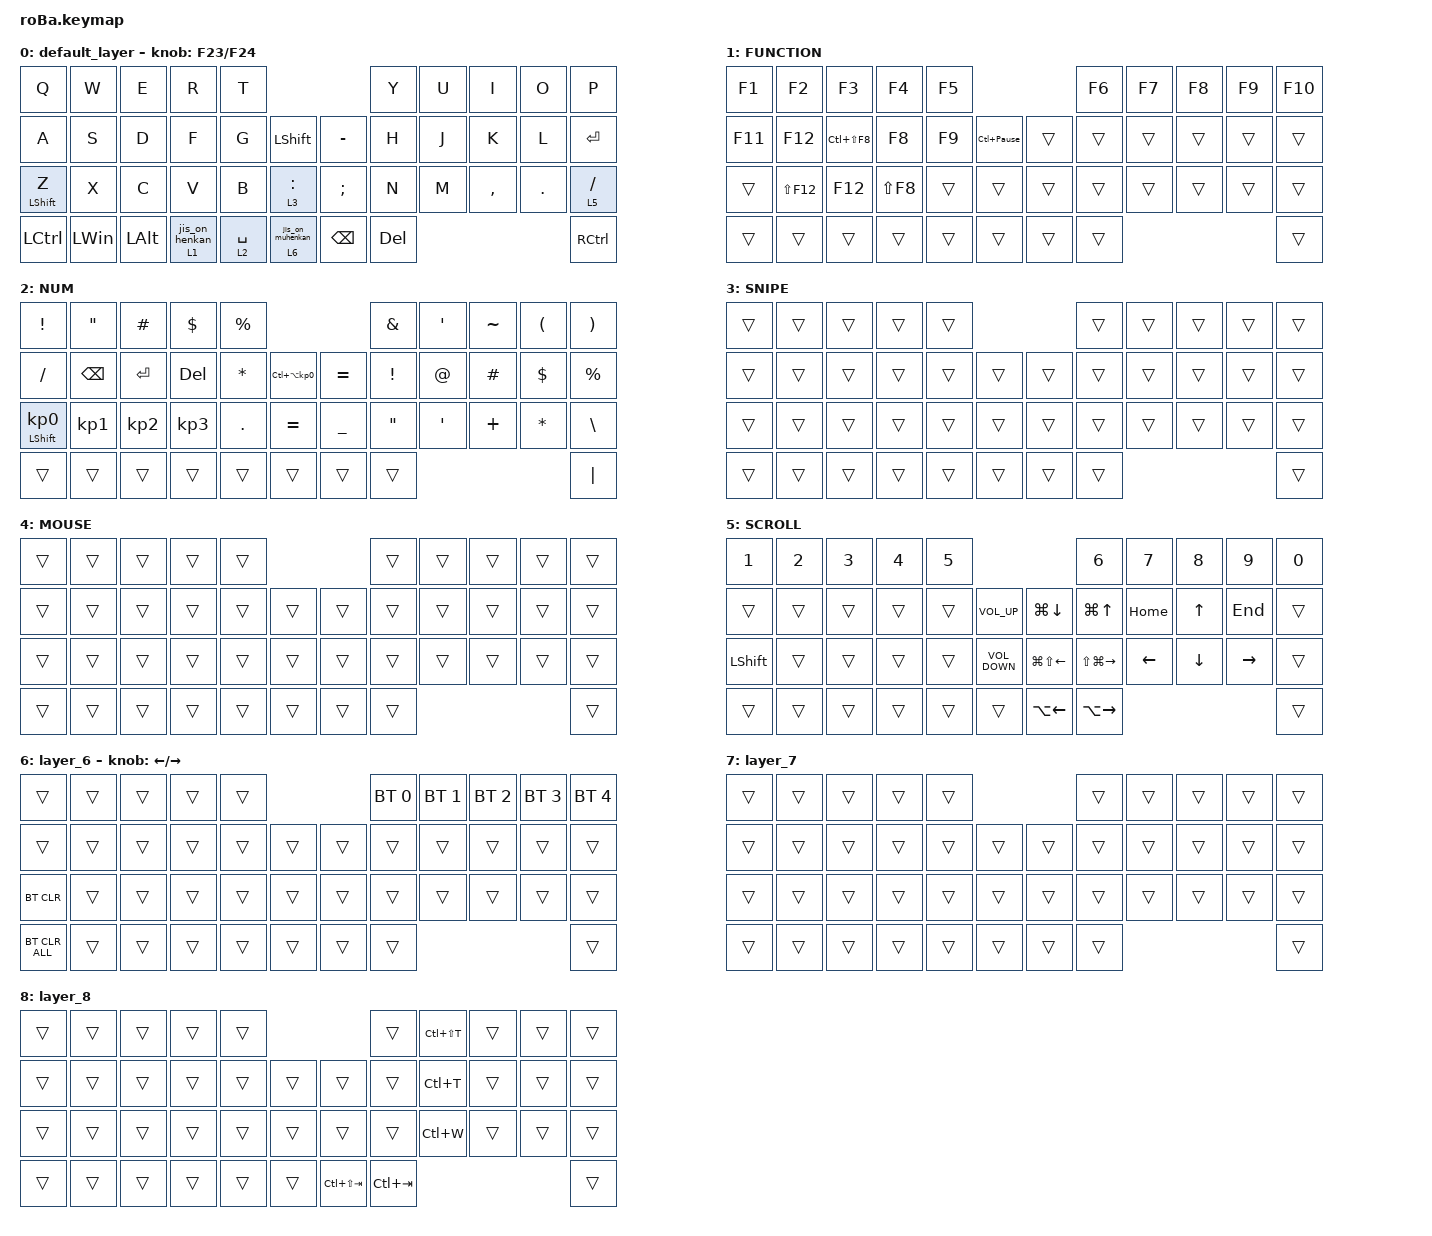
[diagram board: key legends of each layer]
#include <mouse-gesture.dtsi>
#include <layout_shift.dtsi>
#include <behaviors.dtsi>
#include <dt-bindings/zmk/bt.h>
#include <dt-bindings/zmk/keys.h>
#include <dt-bindings/zmk/pointing.h>

#define SNIPE 3
#define MOUSE 4
#define SCROLL 5
#define NUM 6

/* layer 8: browser */

&zip_mouse_gesture {
    stroke-size = <5>;
    idle-timeout-ms = <120>;
    enable-eager-mode;

    up {
        pattern = <GESTURE_UP>;
        bindings = <&kp LC(LA(B))>;
    };

    right {
        pattern = <GESTURE_RIGHT>;
        bindings = <&win_ctrl_right>;
    };

    left {
        pattern = <GESTURE_LEFT>;
        bindings = <&win_ctrl_left>;
    };

    down {
        pattern = <GESTURE_DOWN>;
        bindings = <&kp LC(W)>;            /* 閉じる（現状維持） */
    };
};

&mt {
    flavor = "tap-preferred";
    tapping-term-ms = <200>;
    quick-tap-ms = <150>;

    //require-prior-idle-ms = <150>;  // 高速連打中は常にタップ扱い　でもこれやると高速連打中にはてなが全く打てなくなるのでやめとく
};

/ {
    combos {
        compatible = "zmk,combos";

        tab {
            bindings = <&kp LS(TAB)>;
            key-positions = <11 12>;
        };

        shift_tab {
            bindings = <&kp TAB>;
            key-positions = <12 13>;
        };

        nobashi {
            bindings = <&kp MINUS>;
            key-positions = <1 2>;
        };

        TMClogin {
            bindings = <&login>;
            key-positions = <16 17 18>;
        };

        proxyLogin {
            bindings = <&proxyLogin>;
            key-positions = <28 29 30>;
        };

        centerL {
            bindings = <&kp LEFT_PARENTHESIS>;
            key-positions = <18 19>;
            layers = <2>;
        };

        centerR {
            bindings = <&kp RIGHT_PARENTHESIS>;
            key-positions = <19 20>;
            layers = <2>;
        };

        downL {
            bindings = <&kp LEFT_BRACKET>;
            key-positions = <30 31>;
            layers = <2>;
        };

        downR {
            bindings = <&kp RIGHT_BRACKET>;
            key-positions = <31 32>;
            layers = <2>;
        };

        upL {
            bindings = <&kp LEFT_BRACE>;
            key-positions = <7 6>;
            layers = <2>;
        };

        upR {
            bindings = <&kp RIGHT_BRACE>;
            key-positions = <7 8>;
            layers = <2>;
        };

        esc {
            bindings = <&kp ESCAPE>;
            key-positions = <0 1>;
        };

        leftClick {
            bindings = <&mkp LCLK>;
            key-positions = <18 19>;
            layers = <0 3>;
        };

        rightClick {
            bindings = <&mkp RCLK>;
            key-positions = <19 20>;
            layers = <0 3>;
        };

        middleClick {
            bindings = <&scroll_mid 5 MCLK>;
            key-positions = <18 19 20>;
            layers = <0 3>;
        };

        winTab {
            bindings = <&kp LG(TAB)>;
            key-positions = <30 31 32>;
            layers = <5>;
        };

        openMail {
            bindings = <&kp LC(Q)>;
            key-positions = <31 30>;
            layers = <5>;
        };

        toGesture {
            bindings = <&gesture_hold>;
            key-positions = <33 20>;
        };

        toGesture7 {
            bindings = <&gesture_hold7>;
            key-positions = <33 19 20>;
        };

        left {
            bindings = <&kp LEFT_ARROW>;
            key-positions = <30 31>;
            layers = <0>;
        };

        right {
            bindings = <&kp RIGHT_ARROW>;
            key-positions = <31 32>;
            layers = <0>;
        };

        up {
            bindings = <&kp UP_ARROW>;
            key-positions = <30 19>;
            layers = <0>;
        };

        down {
            bindings = <&kp DOWN_ARROW>;
            key-positions = <19 32>;
            layers = <0>;
        };

        CSplusTab {
            bindings = <&kp LC(RS(TAB))>;
            key-positions = <18 19>;
            layers = <5>;
        };

        CplusTab {
            bindings = <&kp LC(TAB)>;
            key-positions = <19 20>;
            layers = <5>;
        };

        newTab {
            bindings = <&kp LC(T)>;
            key-positions = <18 30>;
            layers = <5>;
        };

        beforeTab {
            bindings = <&kp LC(LS(T))>;
            key-positions = <19 31>;
            layers = <5>;
        };

        closeTab {
            bindings = <&kp LC(W)>;
            key-positions = <19 18 20>;
            layers = <5>;
        };

        BS {
            bindings = <&kp BACKSPACE>;
            key-positions = <23 24>;
        };

        delCombo {
            bindings = <&kp DELETE>;
            key-positions = <24 25>;
        };

        enter {
            bindings = <&kp ENTER>;
            key-positions = <23 24 25>;
        };

        shainNum {
            bindings = <&shainNum>;
            key-positions = <5 6 7>;
        };

        WindowsLock {
            bindings = <&kp LG(L)>;
            key-positions = <7 8 9>;
        };

        WinSwitch {
            bindings = <&kp LG(TAB)>;
            key-positions = <33 32 31>;
        };

        CloseApp {
            bindings = <&kp LA(F4)>;
            key-positions = <33 32 31 30 41>;
        };

        Copy {
            bindings = <&kp LC(C)>;
            key-positions = <40 18>;
        };

        Cut {
            bindings = <&kp LC(X)>;
            key-positions = <19 40>;
        };

        paste {
            bindings = <&kp LC(V)>;
            key-positions = <20 40>;
        };

        Alt_J {
            bindings = <&kp LA(J)>;
            key-positions = <41 18>;
        };

        Alt_K {
            bindings = <&kp LA(K)>;
            key-positions = <41 19>;
        };

        Alt_L {
            bindings = <&kp LA(L)>;
            key-positions = <41 20>;
        };

        Ctrl_Alt_Del {
            bindings = <&kp LC(LA(DELETE))>;
            key-positions = <41 32>;
        };

        Ctrl_Z {
            bindings = <&kp LC(Z)>;
            key-positions = <41 30>;
        };

        Ctrl_Y {
            bindings = <&kp LC(Y)>;
            key-positions = <41 31>;
        };

        Left_back {
            bindings = <&kp BACKSPACE>;
            key-positions = <38 11>;
        };

        left_enter {
            bindings = <&kp ENTER>;
            key-positions = <38 12>;
        };

        left_del {
            bindings = <&kp DELETE>;
            key-positions = <38 13>;
        };

        left_Ctrl_Z {
            bindings = <&kp LC(Z)>;
            key-positions = <11 37>;
        };

        left_Ctrl_Y {
            bindings = <&kp LC(Y)>;
            key-positions = <12 37>;
        };

        basicPass {
            bindings = <&basicPass>;
            key-positions = <28 29 30 31>;
        };
    };

    macros {
        to_layer_0: to_layer_0 {
            compatible = "zmk,behavior-macro-one-param";
            #binding-cells = <1>;
            bindings = <&to 0 &macro_param_1to1 &kp MACRO_PLACEHOLDER>;
            label = "TO_LAYER_0";
        };

        jis_on_henkan: jis_on_henkan {
            compatible = "zmk,behavior-macro";
            #binding-cells = <0>;
            bindings = <&tog_ls_on &kp INT_HENKAN>;
            label = "JIS_ON_HENKAN";
        };

        jis_on_muhenkan: jis_on_muhenkan {
            compatible = "zmk,behavior-macro";
            #binding-cells = <0>;
            bindings = <&tog_ls_on &kp INT_MUHENKAN>;
            label = "JIS_ON_MUHENKAN";
        };

        win_ctrl_right: win_ctrl_right {
            compatible = "zmk,behavior-macro";
            #binding-cells = <0>;
            bindings =
                <&macro_press>,
                <&kp LGUI>,
                <&macro_press>,
                <&kp LCTRL>,
                <&macro_tap>,
                <&kp RIGHT_ARROW>,
                <&macro_release>,
                <&kp LCTRL>,
                <&macro_release>,
                <&kp LGUI>;

            label = "WIN_CTRL_RIGHT";
        };

        win_ctrl_left: win_ctrl_left {
            compatible = "zmk,behavior-macro";
            #binding-cells = <0>;
            bindings =
                <&macro_press>,
                <&kp LGUI>,
                <&macro_press>,
                <&kp LCTRL>,
                <&macro_tap>,
                <&kp LEFT_ARROW>,
                <&macro_release>,
                <&kp LCTRL>,
                <&macro_release>,
                <&kp LGUI>;

            label = "WIN_CTRL_LEFT";
        };

        gesture_hold: gesture_hold {
            compatible = "zmk,behavior-macro";
            #binding-cells = <0>;
            bindings =
                <&macro_tap>,
                <&mouse_gesture_on>,
                <&macro_press>,
                <&mo 8>,
                <&macro_pause_for_release>,
                <&macro_tap>,
                <&mouse_gesture_off>,
                <&macro_release>,
                <&mo 8>;
        };

        gesture_hold7: gesture_hold7 {
            compatible = "zmk,behavior-macro";
            #binding-cells = <0>;
            bindings =
                <&macro_tap>,
                <&mouse_gesture_on>,
                <&macro_press>,
                <&mo 7>,
                <&macro_pause_for_release>,
                <&macro_tap>,
                <&mouse_gesture_off>,
                <&macro_release>,
                <&mo 7>;
        };

        login: login {
            compatible = "zmk,behavior-macro";
            #binding-cells = <0>;
            bindings = <&kp N1 &kp N7 &kp EXCL &kp LS(Q) &kp LS(A) &kp LS(Z) &kp N2 &kp W &kp S &kp X &kp ENTER>;
            label = "LOGIN";
        };

        proxyLogin: proxyLogin {
            compatible = "zmk,behavior-macro";
            #binding-cells = <0>;
            bindings = <&kp LS(I) &kp N0 &kp N4 &kp N6 &kp N3 &kp T &kp R &kp N6 &kp ENTER>;
            label = "PROXYLOGIN";
        };

        shainNum: shainNum {
            compatible = "zmk,behavior-macro";
            #binding-cells = <0>;
            bindings = <&kp N1 &kp N6 &kp N2 &kp N9 &kp N3 &kp N1 &kp N7 &kp TAB>;
            label = "SHAINNUM";
        };

        basicPass: basicPass {
            compatible = "zmk,behavior-macro";
            #binding-cells = <0>;
            bindings = <&kp N0 &kp N4 &kp N6 &kp N3 &kp T &kp R &kp N6>;
            label = "BASICPASS";
        };
    };

    behaviors {
        /* layout_shift override */

        original_key_press: original_key_press {
            compatible = "zmk,behavior-key-press";
            #binding-cells = <1>;
            label = "KEY_PRESS";
        };

        kp: key_press {
            compatible = "zmk,behavior-layout-shift-key-press";
            #binding-cells = <1>;
            label = "LAYOUT_SHIFT_KEY_PRESS";
        };

        lt_to_layer_0: lt_to_layer_0 {
            compatible = "zmk,behavior-hold-tap";
            label = "LAYER_TAP_TO_0";
            bindings = <&mo>, <&to_layer_0>;

            #binding-cells = <2>;
            tapping-term-ms = <200>;
        };

        henkan_lt: henkan_lt {
            compatible = "zmk,behavior-hold-tap";
            #binding-cells = <2>;
            bindings = <&mo &jis_on_henkan>;
            flavor = "tap-preferred";
            tapping-term-ms = <200>;
            quick-tap-ms = <150>;
        };

        muhenkan_lt: muhenkan_lt {
            compatible = "zmk,behavior-hold-tap";
            #binding-cells = <2>;
            bindings = <&mo &jis_on_muhenkan>;
            flavor = "tap-preferred";
            tapping-term-ms = <200>;
            quick-tap-ms = <150>;
        };

        enc_scroll: enc_scroll {
            compatible = "zmk,behavior-sensor-rotate-var";
            #sensor-binding-cells = <2>;
            bindings = <&kp>, <&kp>;
        };

        scroll_mid: scroll_layer_middle_click {
            compatible = "zmk,behavior-hold-tap";
            #binding-cells = <2>;
            flavor = "tap-preferred";
            tapping-term-ms = <200>;
            bindings = <&mo>, <&mkp>;
        };
    };

    keymap {
        compatible = "zmk,keymap";

        default_layer {
            bindings = <
&kp Q             &kp W         &kp E         &kp R           &kp T                                             &kp Y       &kp U  &kp I      &kp O    &kp P
&kp A             &kp S         &kp D         &kp F           &kp G        &kp LEFT_SHIFT        &kp MINUS      &kp H       &kp J  &kp K      &kp L    &kp ENTER
&mt LEFT_SHIFT Z  &kp X         &kp C         &kp V           &kp B        &lt 3 COLON           &kp SEMICOLON  &kp N       &kp M  &kp COMMA  &kp DOT  &lt 5 SLASH
&kp LCTRL         &kp LEFT_WIN  &kp LEFT_ALT  &henkan_lt 1 0  &lt 2 SPACE  &muhenkan_lt 6 0      &kp BACKSPACE  &kp DELETE                             &kp RIGHT_CONTROL
            >;

            sensor-bindings = <&inc_dec_kp F23 F24>;
        };

        FUNCTION {
            bindings = <
&kp F1   &kp F2       &kp F3          &kp F4      &kp F5                                   &kp F6  &kp F7  &kp F8  &kp F9  &kp F10
&kp F11  &kp F12      &kp LC(LS(F8))  &kp F8      &kp F9  &kp LC(PAUSE_BREAK)      &trans  &trans  &trans  &trans  &trans  &trans
&trans   &kp LS(F12)  &kp F12         &kp LS(F8)  &trans  &trans                   &trans  &trans  &trans  &trans  &trans  &trans
&trans   &trans       &trans          &trans      &trans  &trans                   &trans  &trans                          &trans
            >;
        };

        NUM {
            bindings = <
&kp EXCLAMATION             &kp DOUBLE_QUOTES  &kp HASH         &kp DOLLAR       &kp PERCENT                                                &kp AMPERSAND    &kp SINGLE_QUOTE  &kp TILDE  &kp LEFT_PARENTHESIS  &kp RIGHT_PARENTHESIS
&kp SLASH                   &kp BACKSPACE      &kp ENTER        &kp DELETE       &kp ASTERISK  &kp LC(LA(KP_NUMBER_0))      &kp EQUAL       &kp EXCLAMATION  &kp AT_SIGN       &kp HASH   &kp DOLLAR            &kp PERCENT
&mt LEFT_SHIFT KP_NUMBER_0  &kp KP_NUMBER_1    &kp KP_NUMBER_2  &kp KP_NUMBER_3  &kp PERIOD    &kp EQUAL                    &kp UNDERSCORE  &kp DQT          &kp SINGLE_QUOTE  &kp PLUS   &kp ASTERISK          &kp BACKSLASH
&trans                      &trans             &trans           &trans           &trans        &trans                       &trans          &trans                                                              &kp PIPE
            >;
        };

        SNIPE {
            bindings = <
&trans  &trans  &trans  &trans  &trans                      &trans  &trans  &trans  &trans  &trans
&trans  &trans  &trans  &trans  &trans  &trans      &trans  &trans  &trans  &trans  &trans  &trans
&trans  &trans  &trans  &trans  &trans  &trans      &trans  &trans  &trans  &trans  &trans  &trans
&trans  &trans  &trans  &trans  &trans  &trans      &trans  &trans                          &trans
            >;
        };

        MOUSE {
            bindings = <
&trans  &trans  &trans  &trans  &trans                      &trans  &trans  &trans  &trans  &trans
&trans  &trans  &trans  &trans  &trans  &trans      &trans  &trans  &trans  &trans  &trans  &trans
&trans  &trans  &trans  &trans  &trans  &trans      &trans  &trans  &trans  &trans  &trans  &trans
&trans  &trans  &trans  &trans  &trans  &trans      &trans  &trans                          &trans
            >;
        };

        SCROLL {
            bindings = <
&kp N1          &kp N2  &kp N3  &kp N4  &kp N5                                                 &kp N6                   &kp N7          &kp N8          &kp N9           &kp N0
&trans          &trans  &trans  &trans  &trans  &kp C_VOLUME_UP        &kp LG(DOWN_ARROW)      &kp LG(UP_ARROW)         &kp HOME        &kp UP_ARROW    &kp END          &trans
&kp LEFT_SHIFT  &trans  &trans  &trans  &trans  &kp C_VOLUME_DOWN      &kp LG(LS(LEFT_ARROW))  &kp LS(LG(RIGHT_ARROW))  &kp LEFT_ARROW  &kp DOWN_ARROW  &kp RIGHT_ARROW  &trans
&trans          &trans  &trans  &trans  &trans  &trans                 &kp LA(LEFT_ARROW)      &kp LA(RIGHT_ARROW)                                                       &trans
            >;
        };

        layer_6 {
            bindings = <
&trans          &trans  &trans  &trans  &trans                      &bt BT_SEL 0  &bt BT_SEL 1  &bt BT_SEL 2  &bt BT_SEL 3  &bt BT_SEL 4
&trans          &trans  &trans  &trans  &trans  &trans      &trans  &trans        &trans        &trans        &trans        &trans
&bt BT_CLR      &trans  &trans  &trans  &trans  &trans      &trans  &trans        &trans        &trans        &trans        &trans
&bt BT_CLR_ALL  &trans  &trans  &trans  &trans  &trans      &trans  &trans                                                  &trans
            >;

            sensor-bindings = <&inc_dec_kp LEFT_ARROW RIGHT_ARROW>;
        };

        layer_7 {
            bindings = <
&trans  &trans  &trans  &trans  &trans                      &trans  &trans  &trans  &trans  &trans
&trans  &trans  &trans  &trans  &trans  &trans      &trans  &trans  &trans  &trans  &trans  &trans
&trans  &trans  &trans  &trans  &trans  &trans      &trans  &trans  &trans  &trans  &trans  &trans
&trans  &trans  &trans  &trans  &trans  &trans      &trans  &trans                          &trans
            >;
        };

        layer_8 {
            bindings = <
&trans  &trans  &trans  &trans  &trans                               &trans       &kp LC(LS(T))  &trans  &trans  &trans
&trans  &trans  &trans  &trans  &trans  &trans      &trans           &trans       &kp LC(T)      &trans  &trans  &trans
&trans  &trans  &trans  &trans  &trans  &trans      &trans           &trans       &kp LC(W)      &trans  &trans  &trans
&trans  &trans  &trans  &trans  &trans  &trans      &kp LC(LS(TAB))  &kp LC(TAB)                                 &trans
            >;
        };
    };
};
